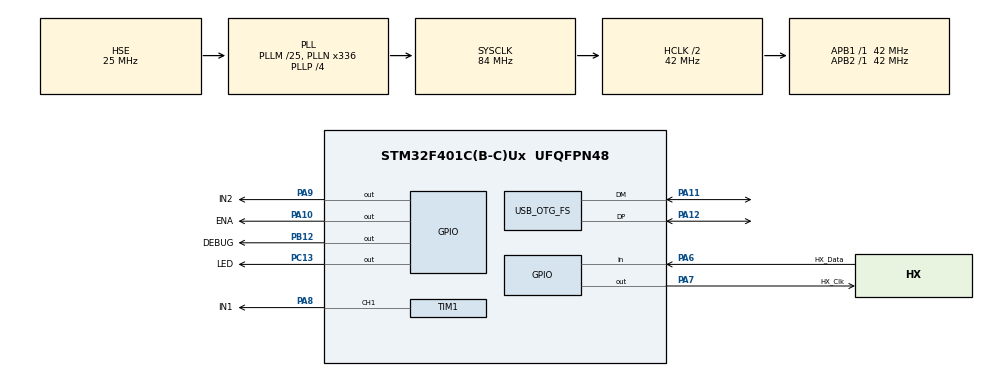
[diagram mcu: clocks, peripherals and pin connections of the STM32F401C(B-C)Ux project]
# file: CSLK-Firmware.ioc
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Mcu.Family=STM32F4
Mcu.Name=STM32F401C(B-C)Ux
Mcu.Package=UFQFPN48
NVIC.OTG_FS_IRQn=true\:0\:0\:false\:false\:true\:true\:true\:true
NVIC.PriorityGroup=NVIC_PRIORITYGROUP_4
NVIC.TIM3_IRQn=true\:1\:0\:true\:false\:true\:true\:true\:true
NVIC.TIM4_IRQn=true\:0\:0\:false\:false\:true\:true\:true\:true
PA10.GPIO_Label=ENA
PA10.Signal=GPIO_Output
PA11.Mode=Device_Only
PA11.Signal=USB_OTG_FS_DM
PA12.Mode=Device_Only
PA12.Signal=USB_OTG_FS_DP
PA6.GPIO_Label=HX_Data
PA6.GPIO_PuPd=GPIO_PULLUP
PA6.Signal=GPIO_Input
PA7.GPIO_Label=HX_Clk
PA7.GPIO_Speed=GPIO_SPEED_FREQ_HIGH
PA7.PinState=GPIO_PIN_RESET
PA7.Signal=GPIO_Output
PA8.GPIO_Label=IN1
PA8.Signal=S_TIM1_CH1
PA9.GPIO_Label=IN2
PA9.GPIO_Speed=GPIO_SPEED_FREQ_LOW
PA9.Signal=GPIO_Output
PB12.GPIO_Label=DEBUG
PB12.GPIO_Speed=GPIO_SPEED_FREQ_VERY_HIGH
PB12.Signal=GPIO_Output
PC13-ANTI_TAMP.GPIO_Label=LED
PC13-ANTI_TAMP.GPIO_ModeDefaultOutputPP=GPIO_MODE_OUTPUT_PP
PC13-ANTI_TAMP.PinState=GPIO_PIN_RESET
PC13-ANTI_TAMP.Signal=GPIO_Output
PH0\ -\ OSC_IN.Mode=HSE-External-Oscillator
PH0\ -\ OSC_IN.Signal=RCC_OSC_IN
PH1\ -\ OSC_OUT.Mode=HSE-External-Oscillator
PH1\ -\ OSC_OUT.Signal=RCC_OSC_OUT
ProjectManager.HeapSize=0x600
ProjectManager.StackSize=0x400
ProjectManager.TargetToolchain=STM32CubeIDE
RCC.48MHZClocksFreq_Value=48000000
RCC.AHBCLKDivider=RCC_SYSCLK_DIV2
RCC.AHBFreq_Value=42000000
RCC.APB1Freq_Value=42000000
RCC.APB1TimFreq_Value=42000000
RCC.APB2Freq_Value=42000000
RCC.APB2TimFreq_Value=42000000
RCC.CortexFreq_Value=42000000
RCC.HCLKFreq_Value=42000000
RCC.HSE_VALUE=25000000
RCC.HSI_VALUE=16000000
RCC.LSE_VALUE=32768
RCC.PLLM=25
RCC.PLLN=336
RCC.PLLP=RCC_PLLP_DIV4
RCC.PLLQ=7
RCC.SYSCLKFreq_VALUE=84000000
RCC.SYSCLKSource=RCC_SYSCLKSOURCE_PLLCLK
RCC.VCOOutputFreq_Value=336000000
SH.S_TIM1_CH1.0=TIM1_CH1,PWM Generation1 CH1
TIM1.AutoReloadPreload=TIM_AUTORELOAD_PRELOAD_ENABLE
TIM1.Channel-PWM\ Generation1\ CH1=TIM_CHANNEL_1
TIM1.Period=4199
TIM3.AutoReloadPreload=TIM_AUTORELOAD_PRELOAD_ENABLE
TIM3.Period=5
TIM3.Prescaler=34999
TIM4.AutoReloadPreload=TIM_AUTORELOAD_PRELOAD_ENABLE
TIM4.Period=20999
TIM4.Prescaler=0
USB_DEVICE.CLASS_NAME_FS=CDC
USB_DEVICE.VirtualMode=Cdc
USB_DEVICE.VirtualModeFS=Cdc_FS
USB_OTG_FS.VirtualMode=Device_Only
VP_TIM1_VS_ClockSourceINT.Mode=Internal
VP_TIM3_VS_ClockSourceINT.Mode=Internal
VP_TIM4_VS_ClockSourceINT.Mode=Internal
VP_USB_DEVICE_VS_USB_DEVICE_CDC_FS.Mode=CDC_FS
board=custom

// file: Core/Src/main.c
/* USER CODE BEGIN Header */
/**
  ******************************************************************************
  * @file           : main.c
  * @brief          : Main program body
  ******************************************************************************
  * @attention
  *
  * Copyright (c) 2024 STMicroelectronics.
  * All rights reserved.
  *
  * This software is licensed under terms that can be found in the LICENSE file
  * in the root directory of this software component.
  * If no LICENSE file comes with this software, it is provided AS-IS.
  *
  ******************************************************************************
  */
/* USER CODE END Header */
#include "main.h"
#include "usb_device.h"

/* USER CODE BEGIN Includes */
#include "usbd_cdc_if.h"
/* USER CODE END Includes */

/* USER CODE BEGIN PD */
char RXbuffer[1024];
char TXbuffer[1024];

conf Config = {1300, 4199, CHANNEL_A};
bool DebugMode = true;
bool AntiWindup = false;

hx711_t loadcell1;

process PVs;

arm_pid_instance_f32 PID;

/* USER CODE END PD */

TIM_HandleTypeDef htim1;
TIM_HandleTypeDef htim3;
TIM_HandleTypeDef htim4;

void SystemClock_Config(void);
static void MX_GPIO_Init(void);
static void MX_TIM1_Init(void);
static void MX_TIM3_Init(void);
static void MX_TIM4_Init(void);

int main(void)
{

  /* MCU Configuration--------------------------------------------------------*/

  /* Reset of all peripherals, Initializes the Flash interface and the Systick. */
  HAL_Init();

  /* Configure the system clock */
  SystemClock_Config();

  /* Initialize all configured peripherals */
  MX_GPIO_Init();
  MX_TIM1_Init();
  MX_USB_DEVICE_Init();
  MX_TIM3_Init();
  MX_TIM4_Init();
  /* USER CODE BEGIN 2 */
  //Loadcell initialisation
    hx711_init(&loadcell1, HX_Clk_GPIO_Port, HX_Clk_Pin, HX_Data_GPIO_Port, HX_Data_Pin);
    set_gain(&loadcell1, 128, 32);
    set_scales(&loadcell1, 26780, 1);
    tare_all(&loadcell1, 10);

    HAL_GPIO_WritePin(IN2_GPIO_Port, IN2_Pin, GPIO_PIN_RESET);
    HAL_GPIO_WritePin(ENA_GPIO_Port, ENA_Pin, GPIO_PIN_SET);

    PID.Kp = 1;
    PID.Ki = 0;
    PID.Kd = 0;
    arm_pid_init_f32(&PID, 1);

    PVs.delimiter = '?';
    PVs.end = '\n';

  HAL_TIM_PWM_Start(&htim1, TIM_CHANNEL_1);
    HAL_TIM_Base_Start_IT(&htim3);
    HAL_TIM_Base_Start_IT(&htim4);
  /* USER CODE END 2 */

  /* Infinite loop */
  /* USER CODE BEGIN WHILE */
  float32_t val;
  while (1)
  {
      if (RXbuffer[0] != 0x00){
          char *loc;
          char *oper;

          loc = strstr(RXbuffer, "HELP");
          if (loc != NULL){
              strncpy(TXbuffer,
                      "SP d.f\t\t:\tSet the setpoint to d.f\r\n"
                      "DEBUG {0,1}\t:\tSet debug mode\r\n"
                      "THE FOLLOWING WILL ONLY WORK IN DEBUG MODE!\r\n"
                      "\t\t--PWM--\r\n"
                      "PWM d\t\t:\tSet PWM CCR to d\r\n"
                      "PWM% d.f\t:\tSet PWM as a percentage d.f%\r\n"
                      "PWMMIN d\t:\tSet the minimum saturation range for PWM to d\r\n"
                      "PWMMAX d\t:\tSet the maximum saturation range for PWM to d\r\n"
                      "\t\t--LoadCell--\r\n"
                      "TARE\t\t:\tTare the loadcell weight\r\n"
                      "CHANNEL {0,1}\t:\tChange between channel CHA and CHB\r\n"
                      "CHGAIN {0,1}\t:\tChange between low and high channel (CHA) gain\r\n"
                      "SCALE d.f\t:\tSet the scale of the current channel to d.f\r\n"
                      "MEASURE\t:\tGet the current value\r\n"
                      "\t\t--Control--\r\n"
                      "KP d.f\t\t:\tSet the Proportional Gain to d.f\r\n"
                      "KI d.f\t\t:\tSet the Integral Gain to d.f\r\n"
            		  "KD d.f\t\t:\tSet the Derivative Gain to d.f\r\n"
            		  "WIND {0,1}\t:\tTurn AntiWindup on or off\r\n",
                      1024);
              CDC_Transmit_FS(TXbuffer, strlen(TXbuffer));
              memset(RXbuffer, 0x00, 1024);
          }

          loc = strstr(RXbuffer, "SP ");
          if (loc != NULL){
              oper = loc + 3;
              PVs.setpoint = atof(oper);
              snprintf(TXbuffer, 1024, "Setpoint: %.4f\r\n", PVs.setpoint);
              CDC_Transmit_FS(TXbuffer, strlen(TXbuffer));
              memset(RXbuffer, 0x00, 1024);
          }

          loc = strstr(RXbuffer, "DEBUG ");
          if (loc != NULL){
              oper = loc + 6;
              DebugMode = (bool)atoi(oper);
              snprintf(TXbuffer, 1024, "Debug Mode: %s\r\n", DebugMode ? "on" : "off");
              if (!DebugMode) arm_pid_reset_f32(&PID);
              CDC_Transmit_FS(TXbuffer, strlen(TXbuffer));
              memset(RXbuffer, 0x00, 1024);
          }

          if (DebugMode){
              loc = strstr(RXbuffer, "PWM ");
              if (loc != NULL){
                  oper = loc + 4;
                  uint16_t pwm;
                  pwm = atoi(oper);
                  snprintf(TXbuffer, 1024, "Setting PWM to: %d saturated to (%d, %d)\r\n", pwm, Config.PWM_MIN, Config.PWM_MAX);
                  CDC_Transmit_FS(TXbuffer, strlen(TXbuffer));
                  memset(RXbuffer, 0x00, 1024);
                  Set_PWM(pwm);
              }
              loc = strstr(RXbuffer, "PWM% ");
              if (loc != NULL){
                  oper = loc + 5;
                  float32_t pwm;
                  pwm = atof(oper);
                  snprintf(TXbuffer, 1024, "Setting PWM to: %.2f %%\r\n", pwm);
                  CDC_Transmit_FS(TXbuffer, strlen(TXbuffer));
                  memset(RXbuffer, 0x00, 1024);
                  Set_PWM_percent(pwm);
              }
              loc = strstr(RXbuffer, "PWMMIN ");
              if (loc != NULL) {
                  oper = loc + 7;
                  uint16_t minpwm;
                  minpwm = atoi(oper);
                  snprintf(TXbuffer, 1024, "Setting PWM Minimum to: %d\r\n", minpwm);
                  CDC_Transmit_FS(TXbuffer, strlen(TXbuffer));
                  memset(RXbuffer, 0x00, 1024);
                  Config.PWM_MIN = minpwm;
                  if (TIM1->CCR1 > minpwm){
                      Set_PWM(minpwm);
                  }
              }
              loc = strstr(RXbuffer, "PWMMAX ");
              if (loc != NULL) {
                  oper = loc + 7;
                  uint16_t maxpwm;
                  maxpwm = atoi(oper);
                  snprintf(TXbuffer, 1024, "Setting PWM Maximum to: %d\r\n", maxpwm);
                  CDC_Transmit_FS(TXbuffer, strlen(TXbuffer));
                  memset(RXbuffer, 0x00, 1024);
                  Config.PWM_MAX = maxpwm;
                  if (TIM1->CCR1 > maxpwm){
                      Set_PWM(maxpwm);
                  }
              }
              loc = strstr(RXbuffer, "TARE");
              if (loc != NULL) {
                  snprintf(TXbuffer, 1024, "Tare both channels\r\n");
                  CDC_Transmit_FS(TXbuffer, strlen(TXbuffer));
                  memset(RXbuffer, 0x00, 1024);
                  tare_all(&loadcell1, 10);
              }
              loc = strstr(RXbuffer, "CHANNEL ");
              if (loc != NULL) {
                  oper = loc + 8;
                  bool ch = atoi(oper);
                  snprintf(TXbuffer, 1024, "Switched to CH%s\r\n", ch ? "B": "A");
                  CDC_Transmit_FS(TXbuffer, strlen(TXbuffer));
                  memset(RXbuffer, 0x00, 1024);
                  Config.HX_CH = ch;
              }
              loc = strstr(RXbuffer, "CHGAIN ");
              if (loc != NULL) {
                  oper = loc + 7;
                  bool gain = atoi(oper);
                  snprintf(TXbuffer, 1024, "CHA gain set to %s\r\n", gain ? "low": "high");
                  CDC_Transmit_FS(TXbuffer, strlen(TXbuffer));
                  memset(RXbuffer, 0x00, 1024);
                  if (gain){
                      set_gain(&loadcell1, 128, 32);
                  }
                  else{
                      set_gain(&loadcell1, 64, 32);
                  }
              }
              loc = strstr(RXbuffer, "SCALE ");
              if (loc != NULL) {
                  oper = loc + 6;
                  float32_t scale = atof(oper);
                  snprintf(TXbuffer, 1024, "Scale set to %.4f\r\n", Config.HX_CH ? "B": "A", scale);
                  CDC_Transmit_FS(TXbuffer, strlen(TXbuffer));
                  memset(RXbuffer, 0x00, 1024);
                  set_scales(&loadcell1, scale, scale);
              }
              loc = strstr(RXbuffer, "MEASURE");
              if (loc != NULL) {
                  float32_t meas;
                  meas = get_weight(&loadcell1, 10, Config.HX_CH);
                  snprintf(TXbuffer, 1024, "Measured: %.4f\r\n", meas);
                  CDC_Transmit_FS(TXbuffer, strlen(TXbuffer));
                  memset(RXbuffer, 0x00, 1024);
              }
              loc = strstr(RXbuffer, "KP ");
              if (loc != NULL) {
                  oper = loc + 3;
                  PID.Kp = atof(oper);
                  arm_pid_init_f32(&PID, 1);
                  snprintf(TXbuffer, 1024, "Kp changed to: %.4f\r\n", PID.Kp);
                  CDC_Transmit_FS(TXbuffer, strlen(TXbuffer));
                  memset(RXbuffer, 0x00, 1024);
              }
              loc = strstr(RXbuffer, "KI ");
              if (loc != NULL) {
                  oper = loc + 3;
                  PID.Ki = atof(oper) * Ts;
                  arm_pid_init_f32(&PID, 1);
                  snprintf(TXbuffer, 1024, "Ki changed to: %.4f\r\n", PID.Ki);
                  CDC_Transmit_FS(TXbuffer, strlen(TXbuffer));
                  memset(RXbuffer, 0x00, 1024);
              }
              loc = strstr(RXbuffer, "KD ");
              if (loc != NULL) {
                  oper = loc + 3;
                  PID.Kd = atof(oper) / Ts;
                  arm_pid_init_f32(&PID, 1);
                  snprintf(TXbuffer, 1024, "Kd changed to: %.4f\r\n", PID.Kd);
                  CDC_Transmit_FS(TXbuffer, strlen(TXbuffer));
                  memset(RXbuffer, 0x00, 1024);
              }
              loc = strstr(RXbuffer, "WIND ");
				if (loc != NULL) {
					oper = loc + 5;
					AntiWindup = atoi(oper);
					arm_pid_init_f32(&PID, 1);
					snprintf(TXbuffer, 1024, "AntiWindup: %d\r\n", AntiWindup);
					CDC_Transmit_FS(TXbuffer, strlen(TXbuffer));
					memset(RXbuffer, 0x00, 1024);
				}
          }

      }
      PVs.height = get_weight(&loadcell1, 5, Config.HX_CH);
      HAL_Delay(0);
    /* USER CODE END WHILE */

  }
}

void SystemClock_Config(void)
{
  RCC_OscInitTypeDef RCC_OscInitStruct = {0};
  RCC_ClkInitTypeDef RCC_ClkInitStruct = {0};

  /** Configure the main internal regulator output voltage
  */
  __HAL_RCC_PWR_CLK_ENABLE();
  __HAL_PWR_VOLTAGESCALING_CONFIG(PWR_REGULATOR_VOLTAGE_SCALE2);

  /** Initializes the RCC Oscillators according to the specified parameters
  * in the RCC_OscInitTypeDef structure.
  */
  RCC_OscInitStruct.OscillatorType = RCC_OSCILLATORTYPE_HSE;
  RCC_OscInitStruct.HSEState = RCC_HSE_ON;
  RCC_OscInitStruct.PLL.PLLState = RCC_PLL_ON;
  RCC_OscInitStruct.PLL.PLLSource = RCC_PLLSOURCE_HSE;
  RCC_OscInitStruct.PLL.PLLM = 25;
  RCC_OscInitStruct.PLL.PLLN = 336;
  RCC_OscInitStruct.PLL.PLLP = RCC_PLLP_DIV4;
  RCC_OscInitStruct.PLL.PLLQ = 7;
  if (HAL_RCC_OscConfig(&RCC_OscInitStruct) != HAL_OK)
  {
    Error_Handler();
  }

  /** Initializes the CPU, AHB and APB buses clocks
  */
  RCC_ClkInitStruct.ClockType = RCC_CLOCKTYPE_HCLK|RCC_CLOCKTYPE_SYSCLK
                              |RCC_CLOCKTYPE_PCLK1|RCC_CLOCKTYPE_PCLK2;
  RCC_ClkInitStruct.SYSCLKSource = RCC_SYSCLKSOURCE_PLLCLK;
  RCC_ClkInitStruct.AHBCLKDivider = RCC_SYSCLK_DIV2;
  RCC_ClkInitStruct.APB1CLKDivider = RCC_HCLK_DIV1;
  RCC_ClkInitStruct.APB2CLKDivider = RCC_HCLK_DIV1;

  if (HAL_RCC_ClockConfig(&RCC_ClkInitStruct, FLASH_LATENCY_1) != HAL_OK)
  {
    Error_Handler();
  }
}

static void MX_TIM1_Init(void)
{

  TIM_ClockConfigTypeDef sClockSourceConfig = {0};
  TIM_MasterConfigTypeDef sMasterConfig = {0};
  TIM_OC_InitTypeDef sConfigOC = {0};
  TIM_BreakDeadTimeConfigTypeDef sBreakDeadTimeConfig = {0};

  htim1.Instance = TIM1;
  htim1.Init.Prescaler = 0;
  htim1.Init.CounterMode = TIM_COUNTERMODE_UP;
  htim1.Init.Period = 4199;
  htim1.Init.ClockDivision = TIM_CLOCKDIVISION_DIV1;
  htim1.Init.RepetitionCounter = 0;
  htim1.Init.AutoReloadPreload = TIM_AUTORELOAD_PRELOAD_ENABLE;
  if (HAL_TIM_Base_Init(&htim1) != HAL_OK)
  {
    Error_Handler();
  }
  sClockSourceConfig.ClockSource = TIM_CLOCKSOURCE_INTERNAL;
  if (HAL_TIM_ConfigClockSource(&htim1, &sClockSourceConfig) != HAL_OK)
  {
    Error_Handler();
  }
  if (HAL_TIM_PWM_Init(&htim1) != HAL_OK)
  {
    Error_Handler();
  }
  sMasterConfig.MasterOutputTrigger = TIM_TRGO_RESET;
  sMasterConfig.MasterSlaveMode = TIM_MASTERSLAVEMODE_DISABLE;
  if (HAL_TIMEx_MasterConfigSynchronization(&htim1, &sMasterConfig) != HAL_OK)
  {
    Error_Handler();
  }
  sConfigOC.OCMode = TIM_OCMODE_PWM1;
  sConfigOC.Pulse = 0;
  sConfigOC.OCPolarity = TIM_OCPOLARITY_HIGH;
  sConfigOC.OCNPolarity = TIM_OCNPOLARITY_HIGH;
  sConfigOC.OCFastMode = TIM_OCFAST_DISABLE;
  sConfigOC.OCIdleState = TIM_OCIDLESTATE_RESET;
  sConfigOC.OCNIdleState = TIM_OCNIDLESTATE_RESET;
  if (HAL_TIM_PWM_ConfigChannel(&htim1, &sConfigOC, TIM_CHANNEL_1) != HAL_OK)
  {
    Error_Handler();
  }
  sBreakDeadTimeConfig.OffStateRunMode = TIM_OSSR_DISABLE;
  sBreakDeadTimeConfig.OffStateIDLEMode = TIM_OSSI_DISABLE;
  sBreakDeadTimeConfig.LockLevel = TIM_LOCKLEVEL_OFF;
  sBreakDeadTimeConfig.DeadTime = 0;
  sBreakDeadTimeConfig.BreakState = TIM_BREAK_DISABLE;
  sBreakDeadTimeConfig.BreakPolarity = TIM_BREAKPOLARITY_HIGH;
  sBreakDeadTimeConfig.AutomaticOutput = TIM_AUTOMATICOUTPUT_DISABLE;
  if (HAL_TIMEx_ConfigBreakDeadTime(&htim1, &sBreakDeadTimeConfig) != HAL_OK)
  {
    Error_Handler();
  }
  HAL_TIM_MspPostInit(&htim1);

}

static void MX_TIM3_Init(void)
{

  TIM_ClockConfigTypeDef sClockSourceConfig = {0};
  TIM_MasterConfigTypeDef sMasterConfig = {0};

  htim3.Instance = TIM3;
  htim3.Init.Prescaler = 34999;
  htim3.Init.CounterMode = TIM_COUNTERMODE_UP;
  htim3.Init.Period = 5;
  htim3.Init.ClockDivision = TIM_CLOCKDIVISION_DIV1;
  htim3.Init.AutoReloadPreload = TIM_AUTORELOAD_PRELOAD_ENABLE;
  if (HAL_TIM_Base_Init(&htim3) != HAL_OK)
  {
    Error_Handler();
  }
  sClockSourceConfig.ClockSource = TIM_CLOCKSOURCE_INTERNAL;
  if (HAL_TIM_ConfigClockSource(&htim3, &sClockSourceConfig) != HAL_OK)
  {
    Error_Handler();
  }
  sMasterConfig.MasterOutputTrigger = TIM_TRGO_RESET;
  sMasterConfig.MasterSlaveMode = TIM_MASTERSLAVEMODE_DISABLE;
  if (HAL_TIMEx_MasterConfigSynchronization(&htim3, &sMasterConfig) != HAL_OK)
  {
    Error_Handler();
  }

}

static void MX_TIM4_Init(void)
{

  TIM_ClockConfigTypeDef sClockSourceConfig = {0};
  TIM_MasterConfigTypeDef sMasterConfig = {0};

  htim4.Instance = TIM4;
  htim4.Init.Prescaler = 0;
  htim4.Init.CounterMode = TIM_COUNTERMODE_UP;
  htim4.Init.Period = 20999;
  htim4.Init.ClockDivision = TIM_CLOCKDIVISION_DIV1;
  htim4.Init.AutoReloadPreload = TIM_AUTORELOAD_PRELOAD_ENABLE;
  if (HAL_TIM_Base_Init(&htim4) != HAL_OK)
  {
    Error_Handler();
  }
  sClockSourceConfig.ClockSource = TIM_CLOCKSOURCE_INTERNAL;
  if (HAL_TIM_ConfigClockSource(&htim4, &sClockSourceConfig) != HAL_OK)
  {
    Error_Handler();
  }
  sMasterConfig.MasterOutputTrigger = TIM_TRGO_RESET;
  sMasterConfig.MasterSlaveMode = TIM_MASTERSLAVEMODE_DISABLE;
  if (HAL_TIMEx_MasterConfigSynchronization(&htim4, &sMasterConfig) != HAL_OK)
  {
    Error_Handler();
  }

}

static void MX_GPIO_Init(void)
{
  GPIO_InitTypeDef GPIO_InitStruct = {0};

  /* GPIO Ports Clock Enable */
  __HAL_RCC_GPIOC_CLK_ENABLE();
  __HAL_RCC_GPIOH_CLK_ENABLE();
  __HAL_RCC_GPIOA_CLK_ENABLE();
  __HAL_RCC_GPIOB_CLK_ENABLE();

  /*Configure GPIO pin Output Level */
  HAL_GPIO_WritePin(LED_GPIO_Port, LED_Pin, GPIO_PIN_RESET);

  /*Configure GPIO pin Output Level */
  HAL_GPIO_WritePin(GPIOA, HX_Clk_Pin|IN2_Pin|ENA_Pin, GPIO_PIN_RESET);

  /*Configure GPIO pin Output Level */
  HAL_GPIO_WritePin(DEBUG_GPIO_Port, DEBUG_Pin, GPIO_PIN_RESET);

  /*Configure GPIO pin : LED_Pin */
  GPIO_InitStruct.Pin = LED_Pin;
  GPIO_InitStruct.Mode = GPIO_MODE_OUTPUT_PP;
  GPIO_InitStruct.Pull = GPIO_NOPULL;
  GPIO_InitStruct.Speed = GPIO_SPEED_FREQ_LOW;
  HAL_GPIO_Init(LED_GPIO_Port, &GPIO_InitStruct);

  /*Configure GPIO pin : HX_Data_Pin */
  GPIO_InitStruct.Pin = HX_Data_Pin;
  GPIO_InitStruct.Mode = GPIO_MODE_INPUT;
  GPIO_InitStruct.Pull = GPIO_PULLUP;
  HAL_GPIO_Init(HX_Data_GPIO_Port, &GPIO_InitStruct);

  /*Configure GPIO pin : HX_Clk_Pin */
  GPIO_InitStruct.Pin = HX_Clk_Pin;
  GPIO_InitStruct.Mode = GPIO_MODE_OUTPUT_PP;
  GPIO_InitStruct.Pull = GPIO_NOPULL;
  GPIO_InitStruct.Speed = GPIO_SPEED_FREQ_HIGH;
  HAL_GPIO_Init(HX_Clk_GPIO_Port, &GPIO_InitStruct);

  /*Configure GPIO pin : DEBUG_Pin */
  GPIO_InitStruct.Pin = DEBUG_Pin;
  GPIO_InitStruct.Mode = GPIO_MODE_OUTPUT_PP;
  GPIO_InitStruct.Pull = GPIO_NOPULL;
  GPIO_InitStruct.Speed = GPIO_SPEED_FREQ_VERY_HIGH;
  HAL_GPIO_Init(DEBUG_GPIO_Port, &GPIO_InitStruct);

  /*Configure GPIO pins : IN2_Pin ENA_Pin */
  GPIO_InitStruct.Pin = IN2_Pin|ENA_Pin;
  GPIO_InitStruct.Mode = GPIO_MODE_OUTPUT_PP;
  GPIO_InitStruct.Pull = GPIO_NOPULL;
  GPIO_InitStruct.Speed = GPIO_SPEED_FREQ_LOW;
  HAL_GPIO_Init(GPIOA, &GPIO_InitStruct);

}

/* USER CODE BEGIN 4 */
void Set_PWM(uint16_t pwm){
    if (pwm > Config.PWM_MAX){
        TIM1->CCR1 = Config.PWM_MAX;
    }
    else if(pwm <= Config.PWM_MIN){
        TIM1->CCR1 = 0;
    }
    else{
        TIM1->CCR1 = pwm;
    }

}

void Set_PWM_percent(float32_t percent){
    PVs.pv = percent;
    percent = (float32_t)Config.PWM_MIN + (float32_t)(Config.PWM_MAX - Config.PWM_MIN) * (percent / 100.0);
    Set_PWM((uint16_t) percent);
}

/* USER CODE END 4 */

void Error_Handler(void)
{
  __disable_irq();
  while (1)
  {
  }
}
